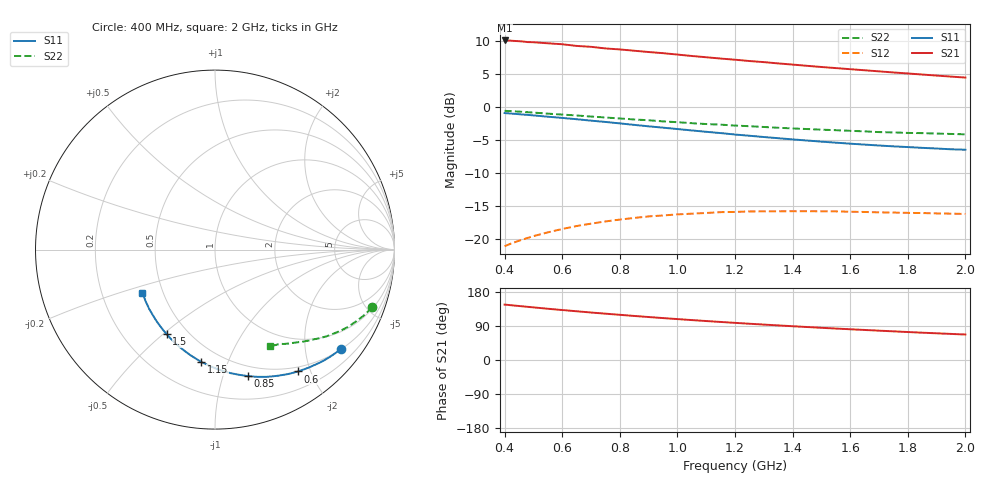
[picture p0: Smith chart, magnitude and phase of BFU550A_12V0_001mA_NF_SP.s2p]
! Filename:  P:\Prog\Test\Noise\ATS_data\Testdata_Net\06 Compressed Noise after Statistics\BFU550A_APG2013_35_C05_12p0V_001mA_NF_CM01_D.sf
! Date/Time: Tue 16/Apr/2013 15:11:28
! BFU550A_APG2013_35_C05_12p0V_1to35mA_NF_CM01_Bias1_R.sf
! Noise Parameter Data File
! BFU550A_APG2013_35_C05_12p0V_1to35mA_NF_CM01
! Date/time: Mon Apr 15 18:57:59 2013
! freq range =  0.4000 to  2.0000 GHz, 37 points
! bias range =  1.0000 to 35.0000 mA, 8 points
! bias supplies used: 1 1 0 0 0 0
! VAR bias_mode= 1  ! Specify V_out, I_out
! VAR bias_var = 1  ! Bias variable = I_out
! VAR V_out= 12.001000
! VAR I_out= 1.000000
! VAR V_in= 0.778400
! VAR I_in= 0.007600
! Device data file deembeded for feedlines and parallel
! Original file: \06 Compressed Noise after Statistics\BFU550A_APG2013_35_C05_12p0V_001mA_NF_CM01_R.sf
! Feed-files: PR017V01_150413_Feed1.s2p, PR017V01_150413_Feed2.s2p
! Parallel-file: PR017V01_150413_Par.s2p
# MHz S MA R 50
!  Freq-MHz  S11-mag  S11-arg  S21-mag  S21-arg  S12-mag  S12-arg  S22-mag  S22-arg
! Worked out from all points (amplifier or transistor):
!   37 points, 400 MHz to 2 GHz, reference 50 ohm
!   highest |S21| = 10.0 dB at 400 MHz (marker M1)
!   |S21| within 3 dB of that: start of sweep to 1.22 GHz
!   unconditionally stable (mu >= 1): nowhere
!   at 500 MHz: K = 0.22, MSG = 14.7 dB, |S12| = -19.6 dB
!   at 1.1 GHz: K = 0.47, MSG = 11.8 dB, |S12| = -16.1 dB
!   at 2 GHz: K = 0.87, MSG = 10.3 dB, |S12| = -16.3 dB
!   lowest NFmin = 0.54 dB at 420 MHz
!   S11 on the Smith chart (normalised r, x): 400 MHz: 0.51, -2.81; 600 MHz: 0.43, -1.81; 850 MHz: 0.40, -1.21; 1.15 GHz: 0.39, -0.81; 1.5 GHz: 0.38, -0.52; 2 GHz: 0.38, -0.24
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400  0.8946 -38.1  3.177 146.3  0.08764 65.7  0.9305 -20.2
420  0.8876 -40.0  3.17 144.7  0.09126 64.7  0.9254 -21.1
440  0.8807 -41.8  3.147 143.2  0.09468 63.6  0.92 -21.9
480  0.867 -45.3  3.089 140.3  0.1012 61.6  0.9081 -23.6
500  0.8591 -47.1  3.08 138.8  0.1044 60.7  0.9022 -24.4
550  0.8398 -51.5  3.024 135.3  0.1115 58.3  0.8859 -26.4
600  0.8218 -55.7  2.974 131.9  0.1183 56.1  0.8713 -28.3
650  0.8036 -59.7  2.888 128.6  0.1246 54.0  0.8578 -30.0
700  0.7839 -63.8  2.844 125.3  0.1298 52.0  0.8421 -31.8
750  0.7663 -67.7  2.765 122.3  0.1349 50.2  0.8282 -33.3
800  0.7471 -71.6  2.716 119.3  0.1394 48.4  0.8139 -34.9
850  0.728 -75.5  2.655 116.2  0.1434 46.7  0.8001 -36.3
950  0.6935 -82.9  2.545 110.6  0.1497 43.7  0.7738 -39.2
1050  0.6607 -90.0  2.423 105.4  0.1546 41.1  0.7499 -41.6
1150  0.6308 -96.9  2.317 100.4  0.1587 38.8  0.731 -43.8
1200  0.6152 -100.3  2.27 98.0  0.1593 37.8  0.7192 -45.1
1350  0.5769 -110.0  2.128 91.2  0.1611 35.5  0.692 -48.2
1500  0.5434 -119.7  1.999 85.0  0.1611 33.9  0.6697 -51.2
1600  0.5244 -125.7  1.924 81.1  0.1598 33.4  0.6562 -53.1
1750  0.5004 -134.7  1.817 75.6  0.1576 33.5  0.6384 -55.7
1850  0.4875 -140.5  1.753 72.1  0.1562 33.8  0.6304 -57.5
2000  0.4718 -149.1  1.662 67.2  0.1538 35.5  0.6172 -60.2
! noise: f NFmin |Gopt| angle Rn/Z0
400  0.5694  0.6765  22.61  0.3463
460  0.6036  0.6406  26.29  0.3729
600  0.6313  0.6414  35.36  0.3307
800  0.6629  0.6057  48.29  0.2708
1000  0.7245  0.5835  61.51  0.2513
1200  0.7844  0.5721  73.34  0.246
1400  0.8301  0.5712  87.35  0.1944
1600  0.9196  0.5001  102.1  0.1602
1800  0.6686  0.5824  117.6  0.1024
2000  0.9177  0.5815  121.9  0.097
